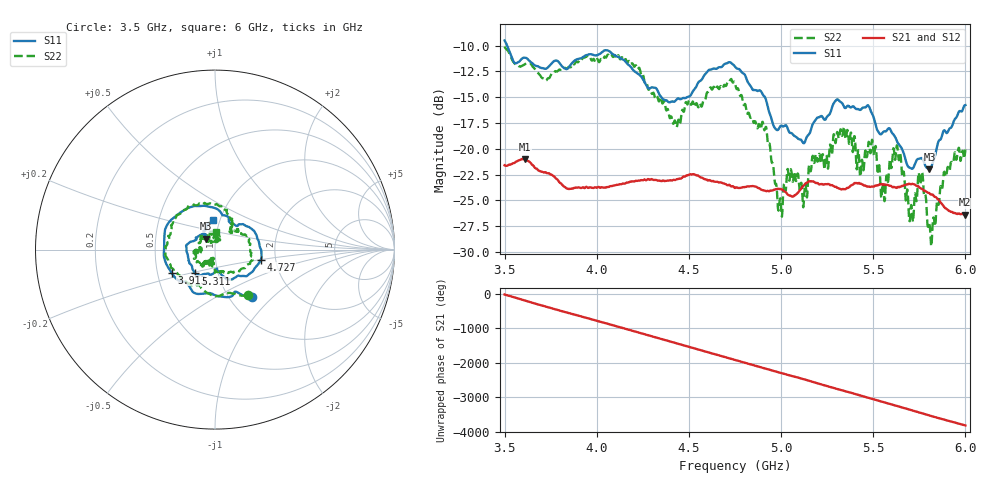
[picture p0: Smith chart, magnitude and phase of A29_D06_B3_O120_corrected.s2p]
! Created with skrf 1.9.0 (http://scikit-rf.org).
# Hz S RI R 50.0
!freq ReS11 ImS11 ReS21 ImS21 ReS12 ImS12 ReS22 ImS22
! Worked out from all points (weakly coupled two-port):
!   1601 points, 3.5 GHz to 6 GHz, reference 50 ohm
!   highest |S21| = -20.98 dB at 3.609 GHz (marker M1); lowest = -26.4 dB at 5.998 GHz (marker M2)
!   lowest |S11| = -22.0 dB at 5.805 GHz (marker M3), VSWR 1.17, Z = 44.8 + j5.5 ohm
!   |S11| at or under -10 dB: 3.514 GHz to end of sweep
!   |S22| runs from -29.4 to -10.1 dB; largest |S21 - S12| = 0.00097
!   S11 on the Smith chart (normalised r, x): 3.5 GHz: 1.27, -0.75; 3.913 GHz: 0.59, -0.16; 4.727 GHz: 1.67, -0.20; 5.311 GHz: 0.78, -0.21; 6 GHz: 0.93, +0.31
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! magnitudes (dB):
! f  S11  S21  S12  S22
! 3.5 GHz  -9.5  -21.6  -21.6  -10.1
! 3.609 GHz  -11.2  -21.0  -21.0  -11.8
! 3.913 GHz  -11.2  -23.8  -23.8  -11.4
! 3.917 GHz  -11.2  -23.8  -23.7  -11.4
! 4.334 GHz  -14.5  -23.1  -23.0  -15.3
! 4.441 GHz  -15.1  -22.9  -22.9  -17.3
! 4.727 GHz  -11.7  -23.6  -23.5  -13.3
! 4.75 GHz  -12.0  -23.8  -23.7  -13.6
! 4.911 GHz  -14.9  -24.0  -24.0  -18.2
! 4.994 GHz  -17.9  -23.9  -23.8  -24.9
! 5.167 GHz  -17.8  -23.2  -23.1  -21.2
! 5.311 GHz  -15.3  -23.8  -23.8  -18.9
! 5.438 GHz  -16.1  -23.4  -23.4  -21.1
! 5.503 GHz  -17.0  -23.6  -23.6  -20.6
! 5.553 GHz  -18.4  -23.5  -23.4  -23.3
! 5.584 GHz  -18.0  -23.6  -23.5  -22.4
! 5.638 GHz  -19.5  -23.7  -23.6  -21.0
! 5.706 GHz  -21.9  -23.4  -23.4  -25.4
! 5.758 GHz  -20.9  -23.8  -23.7  -23.2
! 5.805 GHz  -22.0  -24.3  -24.3  -27.3
! 5.998 GHz  -15.8  -26.4  -26.3  -20.3
! 6 GHz  -15.8  -26.4  -26.3  -20.1
